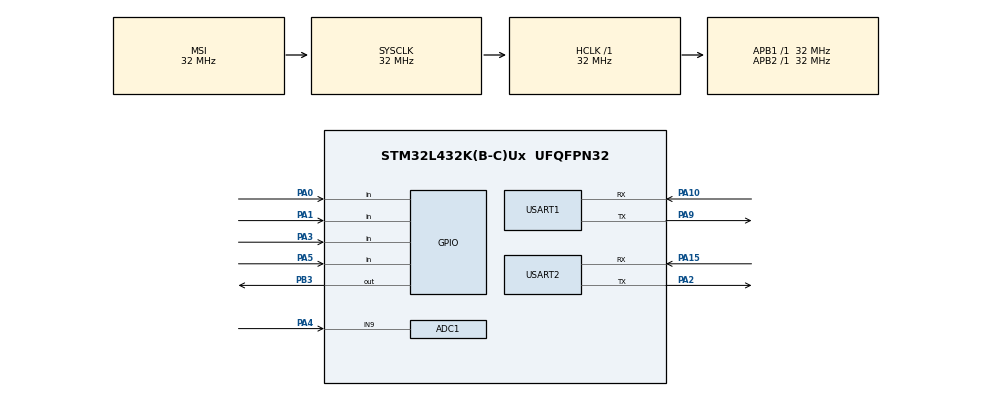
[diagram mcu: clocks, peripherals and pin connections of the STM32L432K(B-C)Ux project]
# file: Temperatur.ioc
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ADC1.Channel-0\#ChannelRegularConversion=ADC_CHANNEL_9
ADC1.ClockPrescaler=ADC_CLOCK_ASYNC_DIV64
ADC1.NbrOfConversionFlag=1
ADC1.OffsetNumber-0\#ChannelRegularConversion=ADC_OFFSET_NONE
ADC1.Rank-0\#ChannelRegularConversion=1
ADC1.SamplingTime-0\#ChannelRegularConversion=ADC_SAMPLETIME_2CYCLES_5
ADC1.master=1
Dma.Request0=USART1_TX
Dma.USART1_TX.0.Direction=DMA_MEMORY_TO_PERIPH
Dma.USART1_TX.0.Instance=DMA1_Channel4
Dma.USART1_TX.0.MemDataAlignment=DMA_MDATAALIGN_BYTE
Dma.USART1_TX.0.MemInc=DMA_MINC_ENABLE
Dma.USART1_TX.0.Mode=DMA_NORMAL
Dma.USART1_TX.0.PeriphDataAlignment=DMA_PDATAALIGN_BYTE
Dma.USART1_TX.0.PeriphInc=DMA_PINC_DISABLE
Dma.USART1_TX.0.Priority=DMA_PRIORITY_LOW
Mcu.Family=STM32L4
Mcu.Name=STM32L432K(B-C)Ux
Mcu.Package=UFQFPN32
NVIC.DMA1_Channel4_IRQn=true\:0\:0\:false\:false\:true\:false\:true\:true
NVIC.PriorityGroup=NVIC_PRIORITYGROUP_4
NVIC.USART1_IRQn=true\:0\:0\:false\:false\:true\:true\:true\:true
PA0.Signal=GPIO_Input
PA1.Signal=GPIO_Input
PA10.Mode=Asynchronous
PA10.Signal=USART1_RX
PA15\ (JTDI).Mode=Asynchronous
PA15\ (JTDI).Signal=USART2_RX
PA2.GPIO_ModeDefaultPP=GPIO_MODE_AF_PP
PA2.GPIO_PuPd=GPIO_NOPULL
PA2.GPIO_Speed=GPIO_SPEED_FREQ_VERY_HIGH
PA2.Mode=Asynchronous
PA2.Signal=USART2_TX
PA3.Signal=GPIO_Input
PA4.Signal=ADCx_IN9
PA5.Signal=GPIO_Input
PA9.Mode=Asynchronous
PA9.Signal=USART1_TX
PB3\ (JTDO-TRACESWO).Signal=GPIO_Output
ProjectManager.HeapSize=0x200
ProjectManager.StackSize=0x400
ProjectManager.TargetToolchain=STM32CubeIDE
RCC.ADCFreq_Value=32000000
RCC.AHBFreq_Value=32000000
RCC.APB1Freq_Value=32000000
RCC.APB1TimFreq_Value=32000000
RCC.APB2Freq_Value=32000000
RCC.APB2TimFreq_Value=32000000
RCC.CortexFreq_Value=32000000
RCC.HCLKFreq_Value=32000000
RCC.HSE_VALUE=8000000
RCC.HSI48_VALUE=48000000
RCC.HSI_VALUE=16000000
RCC.LSE_VALUE=32768
RCC.MSIClockRange=RCC_MSIRANGE_10
RCC.MSI_VALUE=32000000
RCC.PLLM=8
RCC.PLLSAI1N=16
RCC.SYSCLKFreq_VALUE=32000000
RCC.USBFreq_Value=32000000
RCC.VCOOutputFreq_Value=32000000
SH.ADCx_IN9.0=ADC1_IN9,IN9-Single-Ended
USART1.VirtualMode-Asynchronous=VM_ASYNC
USART2.VirtualMode-Asynchronous=VM_ASYNC
board=custom

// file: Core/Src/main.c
/* USER CODE BEGIN Header */
/**
  ******************************************************************************
  * @file           : main.c
  * @brief          : Main program body
  ******************************************************************************
  * @attention
  *
  * Copyright (c) 2025 STMicroelectronics.
  * All rights reserved.
  *
  * This software is licensed under terms that can be found in the LICENSE file
  * in the root directory of this software component.
  * If no LICENSE file comes with this software, it is provided AS-IS.
  *
  ******************************************************************************
  */
/* USER CODE END Header */
#include "main.h"
#include "adc.h"
#include "dma.h"
#include "usart.h"
#include "gpio.h"

/* USER CODE BEGIN Includes */
#include <stdio.h>
#include "dht11.h"
#include "delay_us.h"
#include "ausgabe.h"
#include "sensors.h"
/* USER CODE END Includes */

/* USER CODE BEGIN PV */
DHT11_HandleTypeDef dht1 = {GPIOA, GPIO_PIN_0}; // Sensor 1 an PA0
DHT11_HandleTypeDef dht2 = {GPIOA, GPIO_PIN_1}; // Sensor 2 an PA1
DHT11_HandleTypeDef dht3 = {GPIOA, GPIO_PIN_3}; // Sensor 3 an PA3

float temp1, temp2, temp3;
uint8_t t1, t2, t3, st;
uint8_t hum1, hum2, hum3;
uint8_t h1,h2,h3;
uint16_t adc12;
uint32_t raw, value_adc, s1,s2, ts32;
float v;
DHT11_Status d1, d2, d3, s_adc;
/* USER CODE END PV */

void SystemClock_Config(void);
/* USER CODE BEGIN PFP */

static void ReadSave(void);
static void state_no_RCOOH(void);
static void state_with_RCOOH(void);
static void DebugUART(void);
/* USER CODE END PFP */

/* USER CODE BEGIN 0 */
static inline void DWT_Init(void){
    if (!(CoreDebug->DEMCR & CoreDebug_DEMCR_TRCENA_Msk)) {
        CoreDebug->DEMCR |= CoreDebug_DEMCR_TRCENA_Msk;
    }
    DWT->CYCCNT = 0;
    DWT->CTRL |= DWT_CTRL_CYCCNTENA_Msk;
}
/* USER CODE END 0 */

int main(void)
{

  /* MCU Configuration--------------------------------------------------------*/

  /* Reset of all peripherals, Initializes the Flash interface and the Systick. */
  HAL_Init();

  /* Configure the system clock */
  SystemClock_Config();

  /* USER CODE BEGIN SysInit */
  SystemCoreClockUpdate();
  delay_us_init();
  HAL_Delay(1500);
  /* USER CODE END SysInit */

  /* Initialize all configured peripherals */
  MX_GPIO_Init();
  MX_DMA_Init();
  MX_USART2_UART_Init();
  MX_ADC1_Init();
  MX_USART1_UART_Init();
  /* USER CODE BEGIN 2 */

  HAL_GPIO_WritePin(GPIOB, GPIO_PIN_3, GPIO_PIN_SET);
  const char *msg = "UART Ready\r\n";
  HAL_UART_Transmit(&huart2, (uint8_t*)msg, strlen(msg), HAL_MAX_DELAY);
  HAL_UART_Transmit(&huart1, (uint8_t*)msg, strlen(msg), HAL_MAX_DELAY);
  ADC1_PA4_Init();
  setvbuf(stdout, NULL, _IONBF, 0);   // kein Puffern, sofort senden
  HAL_GPIO_WritePin(GPIOB, GPIO_PIN_3, GPIO_PIN_RESET);
  printf("_____________\r\n");
  printf("Boot OK\r\n");              // Testausgabe
  HAL_GPIO_WritePin(GPIOB, GPIO_PIN_3, GPIO_PIN_SET);
  Save_Init();
  Ausgabe_Init(&huart1);

  uint16_t flag = Save_GetSessionFlag();
  printf("Sessionflag: %u (0x%04X)\r\n", flag, flag);

  printf("Sessionflag (Bits): ");
  for (int i = 15; i >= 0; i--) {
      printf("%c", (flag & (1 << i)) ? '1' : '0');
      if (i % 4 == 0) printf(" "); // optional: Gruppenbildung
  }
  printf("\r\n");

  int pres1 = DHT11_Presence(GPIOA, GPIO_PIN_0);
  printf("S1 Praesenz: %d\r\n", pres1); // 0=OK, <0=Timeout
  int pres2 = DHT11_Presence(GPIOA, GPIO_PIN_1);
  printf("S2 Praesenz: %d\r\n", pres2); // 0=OK, <0=Timeout
  int pres3 = DHT11_Presence(GPIOA, GPIO_PIN_3);
  printf("S3 Praesenz: %d\r\n", pres3); // 0=OK, <0=Timeout

//  HAL_ADC_Start_DMA(&hadc1,(uint32_t*)&value_adc,1);
  HAL_GPIO_WritePin(GPIOB, GPIO_PIN_3, GPIO_PIN_RESET);
  HAL_Delay(2000);
  /* USER CODE END 2 */

  /* Infinite loop */
  /* USER CODE BEGIN WHILE */
  while (1)
  {
	  /*Messintervall, t*300ms bei 1000 5 min
	   * -> Sensor alle 30min
	   *  mindestens 4 sonst DHT 11 zu schnell abgefragt*/
	  HAL_Delay(1000);
	  static uint16_t q=0;
	  if (q<1800){
		  q++;
	  }else{
		  q=0;
	  }
	  Ausgabe_Process();
	  if (ausgabe_aktiv){
		  HAL_Delay(20); // Warten bis fertig
		  continue;
	  }
	  // Case decision, 5x ohne, 1x mit
	  switch (q){
	  case 60:{
		  HAL_GPIO_WritePin(GPIOA, GPIO_PIN_5, GPIO_PIN_SET);
		  HAL_GPIO_WritePin(GPIOB, GPIO_PIN_3, GPIO_PIN_SET);
		//Sensor ein
	  break;
	  }
	  case 150: {
		  //Messen
		  state_with_RCOOH();
		  ReadSave();
		  //Senor aus
		 HAL_GPIO_WritePin(GPIOA, GPIO_PIN_5, GPIO_PIN_RESET);
		 HAL_GPIO_WritePin(GPIOB, GPIO_PIN_3, GPIO_PIN_RESET);
		 break;
	  }
	  case 450:{
		  state_no_RCOOH();
		  ReadSave();
		  break;
	  }
	  case 750:{
	  		  state_no_RCOOH();
	  		  ReadSave();
	  		  break;
	  	  }
	  case 1050:{
  		  state_no_RCOOH();
  		  ReadSave();
  		  break;
	  }
	  case 1350:{
  		  state_no_RCOOH();
  		  ReadSave();
  		  break;
	  }
	  case 1650:{
  		  state_no_RCOOH();
  		  ReadSave();
  		  break;
	  	  }
	  }
	    }
    /* USER CODE END WHILE */

}

void SystemClock_Config(void)
{
  RCC_OscInitTypeDef RCC_OscInitStruct = {0};
  RCC_ClkInitTypeDef RCC_ClkInitStruct = {0};

  /** Configure the main internal regulator output voltage
  */
  if (HAL_PWREx_ControlVoltageScaling(PWR_REGULATOR_VOLTAGE_SCALE1) != HAL_OK)
  {
    Error_Handler();
  }

  /** Initializes the RCC Oscillators according to the specified parameters
  * in the RCC_OscInitTypeDef structure.
  */
  RCC_OscInitStruct.OscillatorType = RCC_OSCILLATORTYPE_MSI;
  RCC_OscInitStruct.MSIState = RCC_MSI_ON;
  RCC_OscInitStruct.MSICalibrationValue = 0;
  RCC_OscInitStruct.MSIClockRange = RCC_MSIRANGE_10;
  RCC_OscInitStruct.PLL.PLLState = RCC_PLL_NONE;
  if (HAL_RCC_OscConfig(&RCC_OscInitStruct) != HAL_OK)
  {
    Error_Handler();
  }

  /** Initializes the CPU, AHB and APB buses clocks
  */
  RCC_ClkInitStruct.ClockType = RCC_CLOCKTYPE_HCLK|RCC_CLOCKTYPE_SYSCLK
                              |RCC_CLOCKTYPE_PCLK1|RCC_CLOCKTYPE_PCLK2;
  RCC_ClkInitStruct.SYSCLKSource = RCC_SYSCLKSOURCE_MSI;
  RCC_ClkInitStruct.AHBCLKDivider = RCC_SYSCLK_DIV1;
  RCC_ClkInitStruct.APB1CLKDivider = RCC_HCLK_DIV1;
  RCC_ClkInitStruct.APB2CLKDivider = RCC_HCLK_DIV1;

  if (HAL_RCC_ClockConfig(&RCC_ClkInitStruct, FLASH_LATENCY_1) != HAL_OK)
  {
    Error_Handler();
  }
}

/* USER CODE BEGIN 4 */

void HAL_UART_RxCpltCallback(UART_HandleTypeDef *huart)
{
    Ausgabe_RxCpltCallback(huart);
}
void HAL_UART_TxCpltCallback(UART_HandleTypeDef *huart)
{
    Ausgabe_TxCpltCallback(huart);
}
static void ReadSave(void){
	read_sensors(&t1,  &t2, &t3, &h1, &h2, &h3, &adc12, &d1, &d2, &d3);
	ts32 = HAL_GetTick();
	(void)save_push_from_main_ts(t1, t2, t3, h1, h2, h3, adc12, st, 0, ts32);
	DebugUART();
}
static void state_no_RCOOH(void){

	      st &= ~(1u << 0);
	      st &= ~(1u << 1);
	      st &= ~(1u << 2);
	      st |= (1u << 3);
}
static void state_with_RCOOH(void){

	    	    	  st &= ~(1u << 0);
	    	    	  st &= ~(1u << 1);
	    	    	  st |= (1u << 2);
	    	    	  st &= ~(1u << 3);
}
static void DebugUART(void){
	printf("time=%u\t",ts32);
	    		            if (d1 == DHT11_OK)
	    		                printf("S1: %.1f°C (%d) %u%% (%d)\t", temp1, t1, hum1, h1);
	    		            else
	    		                printf("S1 Fehler\t");

	    		            if (d2 == DHT11_OK)
	    		                  printf("S2: %.1f°C (%d) %u%% (%d)\t", temp2, t2, hum2, h2);
	    		              else
	    		                  printf("S2 Fehler\t");

	    		            if (d3 == DHT11_OK)
	    		                  printf("S3: %.1f°C (%d) %u%% (%d)\t", temp3, t3, hum3, h3);
	    		              else
	    		                  printf("S3 Fehler\t");

	    		            if (s_adc == HAL_OK)
	    		                printf("ADC: %u (0x%03X)\t", adc12, adc12);
	    		            else
	    		                printf("ADC Fehler\t");

	    		            printf("Status: 0x%X\n", st);
	    		            HAL_GPIO_WritePin(GPIOA, GPIO_PIN_5, GPIO_PIN_RESET);
}

/* USER CODE END 4 */

void Error_Handler(void)
{
  __disable_irq();
  while (1)
  {
  }
}
